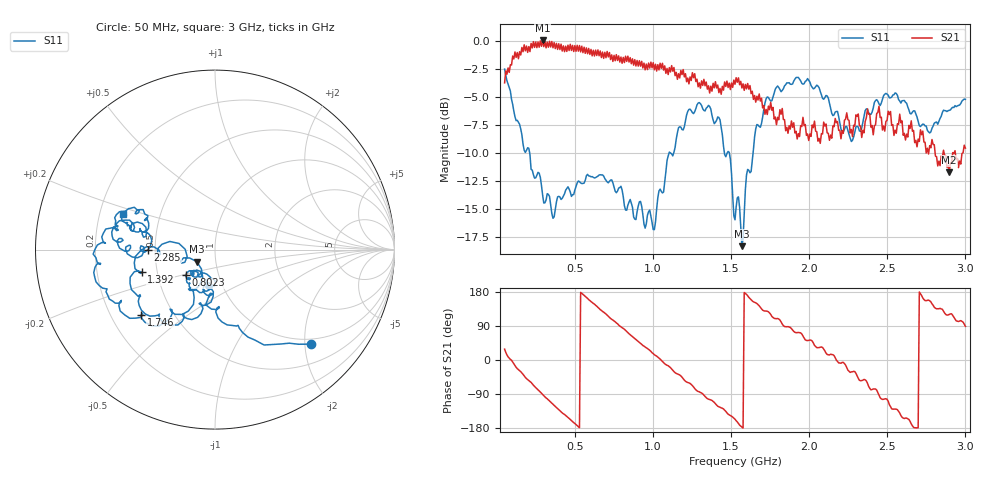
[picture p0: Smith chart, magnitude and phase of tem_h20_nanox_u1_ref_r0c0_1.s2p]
! nanovna_capture.py 2026-10-26T21:04:35+0900
! NanoVNA-F_V2 fw 0.6.0 SN 4A3639384505514B
! cal: load open short thru cal'ed  over 50000000-3000000000 Hz, 201 points
! points 401, avg 4
! TEM h=20, genuine Nano X, flat back down, 0 deg (length across cell, USB left seen from PORT 1), centred, placement 1
# HZ S RI R 50
! S12 and S22 are not measured (written as 0)
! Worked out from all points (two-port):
!   401 points, 50 MHz to 3 GHz, reference 50 ohm
!   highest |S21| = 0.04 dB at 293.4 MHz (marker M1); lowest = -11.7 dB at 2.897 GHz (marker M2)
!   |S21| within 3 dB of the highest: 64.88 MHz to 1.097 GHz (1.032 GHz wide, 178 % of centre); 1.098 GHz to 1.14 GHz (42.41 MHz wide, 3.79 % of centre) (the widest 2 of 10)
!   lowest |S11| = -18.3 dB at 1.569 GHz (marker M3), VSWR 1.28, Z = 40.4 - j5.48 ohm
!   |S11| at or under -10 dB: 210.6 MHz to 1.103 GHz (892.1 MHz wide, 136 % of centre); 1.457 GHz to 1.475 GHz (17.57 MHz wide, 1.2 % of centre); 1.489 GHz to 1.641 GHz (151.8 MHz wide, 9.7 % of centre) (the widest 3 of 4)
!   S12 and S22 are empty: the file has one direction only
!   S11 on the Smith chart (normalised r, x): 50 MHz: 0.89, -2.12; 802.2 MHz: 0.69, -0.21; 1.392 GHz: 0.41, -0.13; 1.746 GHz: 0.33, -0.34; 2.285 GHz: 0.46, -0.00; 3 GHz: 0.30, +0.17
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5e7  0.5321 -0.5267  0.5705 0.3115  0 0  0 0
1.01625e8  0.1842 -0.4877  0.8524 -0.0794  0 0  0 0
1.60625e8  0.017 -0.3812  0.7723 -0.5271  0 0  0 0
2.93375e8  -0.0594 -0.197  -0.0178 -1.004  0 0  0 0
4.11375e8  -0.0181 -0.1956  -0.7057 -0.6611  0 0  0 0
5.44125e8  -0.064 -0.2223  -0.9445 0.0713  0 0  0 0
6.76875e8  -0.14 -0.2105  -0.5507 0.7011  0 0  0 0
8.0225e8  -0.1632 -0.1422  0.0658 0.7921  0 0  0 0
9.27625e8  -0.1261 -0.1329  0.6094 0.5352  0 0  0 0
1.03825e9  -0.0411 -0.2106  0.7389 0.0707  0 0  0 0
1.207875e9  -0.1831 -0.4001  0.3988 -0.5923  0 0  0 0
1.39225e9  -0.4089 -0.1251  -0.2289 -0.5739  0 0  0 0
1.525e9  -0.155 -0.0376  -0.5862 -0.2584  0 0  0 0
1.56925e9  -0.1017 -0.0667  -0.6158 -0.0319  0 0  0 0
1.65775e9  -0.1831 -0.3614  -0.466 0.2593  0 0  0 0
1.74625e9  -0.4108 -0.3627  -0.2769 0.4088  0 0  0 0
2.019125e9  -0.6199 0.0389  0.2711 0.3233  0 0  0 0
2.284625e9  -0.3733 -7.65e-05  0.3642 -0.2109  0 0  0 0
2.51325e9  -0.5413 0.1328  -0.2197 -0.4153  0 0  0 0
2.653375e9  -0.4261 0.2056  -0.4314 -0.0878  0 0  0 0
2.89675e9  -0.4718 0.1346  -0.1308 0.2239  0 0  0 0
3e9  -0.512 0.1973  0.00647 0.3329  0 0  0 0
